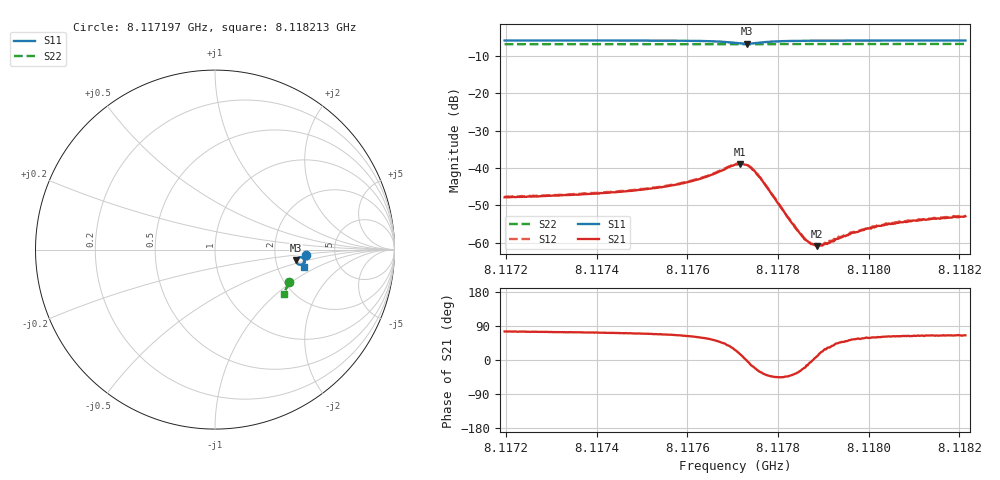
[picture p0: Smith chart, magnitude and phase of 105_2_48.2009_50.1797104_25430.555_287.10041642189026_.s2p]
#  HZ  S  RI  R  50.00
! Rohde & Schwarz Vector Network Analyzer
! Rohde-Schwarz,ZNB20-2Port,1311601062101988,3.16
! Created: UTC 3/20/2024, 11:40:45 AM
! freq[Hz]  re:S11  im:S11  re:S21  im:S21  re:S12  im:S12  re:S22  im:S22
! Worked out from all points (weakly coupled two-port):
!   401 points, 8.117197 GHz to 8.118213 GHz, reference 50 ohm
!   highest |S21| = -38.94 dB at 8.117715 GHz (marker M1); lowest = -60.9 dB at 8.117886 GHz (marker M2)
!   lowest |S11| = -6.8 dB at 8.117731 GHz (marker M3), VSWR 2.69, Z = 131 - j19.9 ohm
!   |S11| at or under -10 dB: nowhere
!   |S22| runs from -6.9 to -6.9 dB; largest |S21 - S12| = 0.00039
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8.1171971e9  0.5048 -0.0325  0.00103 0.00392  0.00108 0.00397  0.4127 -0.1826
8.1173673e9  0.503 -0.0469  0.00129 0.00423  0.00138 0.00431  0.4082 -0.1937
8.1174689e9  0.5014 -0.0564  0.00165 0.00462  0.0017 0.00468  0.4052 -0.2001
8.1175375e9  0.4993 -0.0639  0.00204 0.00509  0.00214 0.00511  0.4032 -0.2045
8.1175807e9  0.497 -0.0693  0.00255 0.00549  0.00262 0.00557  0.4019 -0.2074
8.117629e9  0.492 -0.0768  0.00366 0.00616  0.00379 0.00623  0.4001 -0.2106
8.1177052e9  0.4621 -0.0809  0.00992 0.00491  0.01 0.00487  0.3966 -0.2148
8.1177154e9  0.4562 -0.0746  0.0108 0.00324  0.0111 0.00303  0.3961 -0.2152
8.1177306e9  0.4533 -0.0601  0.011 -0.000128  0.0112 -0.000282  0.3958 -0.2154
8.1177433e9  0.459 -0.0487  0.00914 -0.00267  0.00942 -0.00273  0.3956 -0.2158
8.117756e9  0.4684 -0.0429  0.007 -0.0037  0.00717 -0.00391  0.3959 -0.2164
8.1178246e9  0.4948 -0.0549  0.00154 -0.00138  0.00155 -0.00142  0.3949 -0.2213
8.1178526e9  0.4969 -0.0605  0.00112 -0.000529  0.00116 -0.000515  0.3939 -0.2232
8.1178678e9  0.4975 -0.0632  0.000998 -0.00017  0.00102 -0.00019  0.3935 -0.2242
8.1178754e9  0.4978 -0.0644  0.000962 -2.88e-05  0.00096 -1.19e-05  0.3932 -0.2247
8.1178856e9  0.4981 -0.0659  0.000887 0.000145  0.000949 0.000166  0.393 -0.2254
8.1178958e9  0.4982 -0.0675  0.000854 0.000336  0.000892 0.00032  0.3926 -0.226
8.117972e9  0.4983 -0.0767  0.000789 0.00114  0.000843 0.00118  0.3901 -0.231
8.1179974e9  0.4981 -0.0794  0.000816 0.00133  0.000793 0.00132  0.3893 -0.2327
8.1180457e9  0.4976 -0.084  0.000838 0.0016  0.000862 0.00157  0.3877 -0.2355
8.1181117e9  0.4967 -0.09  0.000881 0.00179  0.000921 0.00185  0.3855 -0.2398
8.1182133e9  0.4952 -0.0985  0.000947 0.00205  0.00094 0.00206  0.3818 -0.2458
